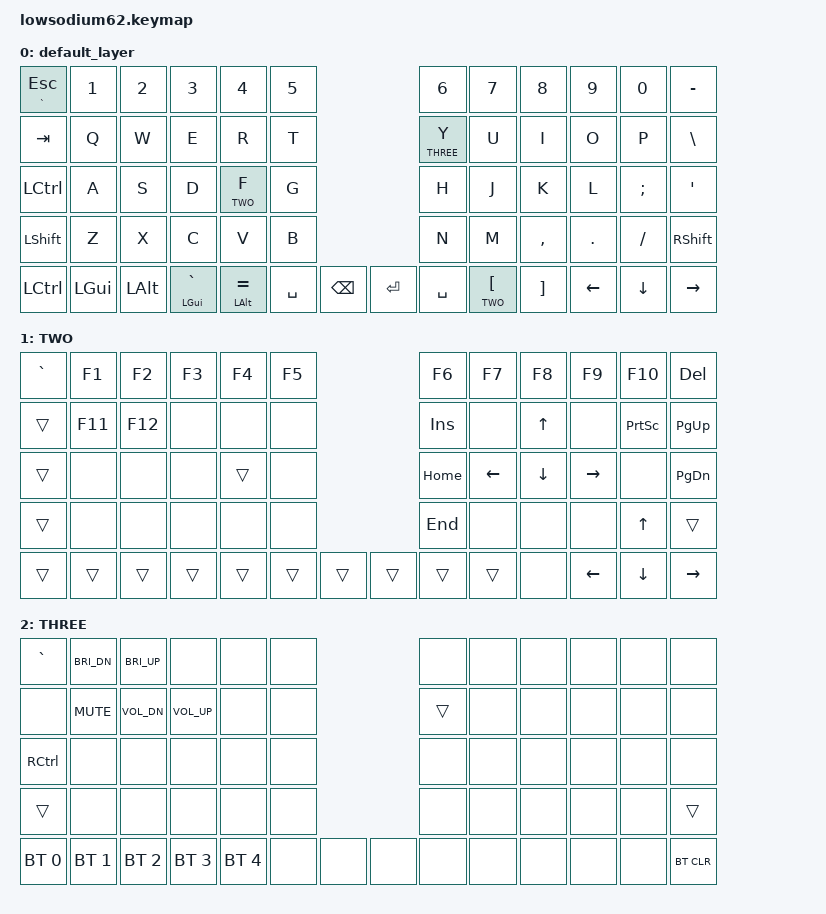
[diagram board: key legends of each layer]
/*
 * Copyright (c) 2023 Andrew Chi
 *
 * SPDX-License-Identifier: MIT
 */

#include <behaviors.dtsi>
#include <dt-bindings/zmk/keys.h>
#include <dt-bindings/zmk/bt.h>
#define TWO 1
#define THREE 2

/ {
        keymap {

                compatible = "zmk,keymap";

                default_layer {
// ----------------------------------------------------------------------------------------------------------
// |  ESC  |  1   |  2   |  3   |  4   |  5  |               |  6   |  7    |  8    |  9    |   0   |   -   |
// |  TAB  |  Q   |  W   |  E   |  R   |  T  |               |  Y   |  U    |  I    |  O    |   P   |   \   |
// | LCTRL |  A   |  S   |  D   |  F   |  G  |               |  H   |  J    |  K    |  L    |   ;   |   '   |
// | SHIFT |  Z   |  X   |  C   |  V   |  B  |               |  N   |  M    |  ,    |  .    |   /   | SHIFT |
// | LCTRL | LGUI | LALT | GRAV |  EQL | SPC | BSPC |  | RET | SPC  | LBKT  |  RBKT | LEFT  |  DOWN | RIGHT |
                        bindings = <
&mt GRAVE ESC  &kp N1    &kp N2    &kp N3         &kp N4         &kp N5                     &kp N6      &kp N7       &kp N8    &kp N9    &kp N0    &kp MINUS
&kp TAB        &kp Q     &kp W     &kp E          &kp R          &kp T                      &lt THREE Y &kp U        &kp I     &kp O     &kp P     &kp BSLH
&kp LCTRL      &kp A     &kp S     &kp D          &lt TWO F      &kp G                      &kp H       &kp J        &kp K     &kp L     &kp SEMI  &kp SQT
&kp LSHFT      &kp Z     &kp X     &kp C          &kp V          &kp B                      &kp N       &kp M        &kp COMMA &kp DOT   &kp FSLH  &kp RSHFT
&kp LCTRL      &kp LGUI  &kp LALT  &mt LGUI GRAVE &mt LALT EQUAL &kp SPACE &kp BSPC &kp RET &kp SPACE   &lt TWO LBKT &kp RBKT  &kp LEFT  &kp DOWN  &kp RIGHT
                                                                     
                        >;
                };

                TWO {
// -----------------------------------------------------------------------------------------------------------
// | GRAVE |  F1  |  F2  |  F3  |  F4  |  F5  |               |  F6  |  F7   |  F8   |  F9   |  F10  |  DEL  |
// |  TAB  |  F11 |  F12 |      |      |      |               | INS  |       |  UP   |       | PSCRN | PG_UP |
// | LCTRL |      |      |      |  *   |      |               | HOME | LEFT  | DOWN  | RIGHT |       | PG_DN |
// | SHIFT |      |      |      |      |      |               | END  |       |       |       |   UP  | SHIFT |
// | LCTRL | LGUI | LALT | GRAV |  EQL | SPC  | BSPC |  | RET | SPC  |   *   |       | LEFT  |  DOWN | RIGHT |
                        bindings = <
&kp GRAVE &kp F1  &kp F2  &kp F3  &kp F4  &kp F5                &kp F6   &kp F7   &kp F8   &kp F9    &kp F10   &kp DEL
&trans    &kp F11 &kp F12 &none   &none   &none                 &kp INS  &none    &kp UP   &none     &kp PSCRN &kp PG_UP
&trans    &none   &none   &none   &trans  &none                 &kp HOME &kp LEFT &kp DOWN &kp RIGHT &none     &kp PG_DN
&trans    &none   &none   &none   &none   &none                 &kp END  &none    &none    &none     &kp UP    &trans
&trans    &trans  &trans  &trans  &trans  &trans &trans  &trans &trans   &trans   &none    &kp LEFT  &kp DOWN  &kp RIGHT
                                                                      
                        >;
                };

                THREE {
// -----------------------------------------------------------------------------------------------------------------------------
// |  GRAVE  | C_BRI_DN | C_BRI_UP |          |          |      |              |      |       |       |       |       |        |
// |         | C_MUTE   | C_VOL_DN | C_VOL_UP |          |      |              |   *  |       |       |       |       |        |
// |  RCTRL  |          |          |          |          |      |              |      |       |       |       |       |        |
// |  SHIFT  |          |          |          |          |      |              |      |       |       |       |       | SHIFT  |
// | BT_SEL0 | BT_SEL 1 | BT_SEL 2 | BT_SEL 3 | BT_SEL 4 |      |     |  |     |      |       |       |       |       | BT_CLR |
                        bindings = <
&kp GRAVE    &kp C_BRI_DN  &kp C_BRI_UP  &none         &none         &none               &none   &none  &none  &none  &none  &none
&none        &kp C_MUTE    &kp C_VOL_DN  &kp C_VOL_UP  &none         &none               &trans  &none  &none  &none  &none  &none
&kp RCTRL    &none         &none         &none         &none         &none               &none   &none &none  &none  &none  &none
&trans       &none         &none         &none         &none         &none               &none   &none  &none  &none  &none  &trans
&bt BT_SEL 0 &bt BT_SEL 1  &bt BT_SEL 2  &bt BT_SEL 3  &bt BT_SEL 4  &none &none   &none &none   &none  &none  &none  &none  &bt BT_CLR
                                                                  
                        >;
                };
        };
 
};  
